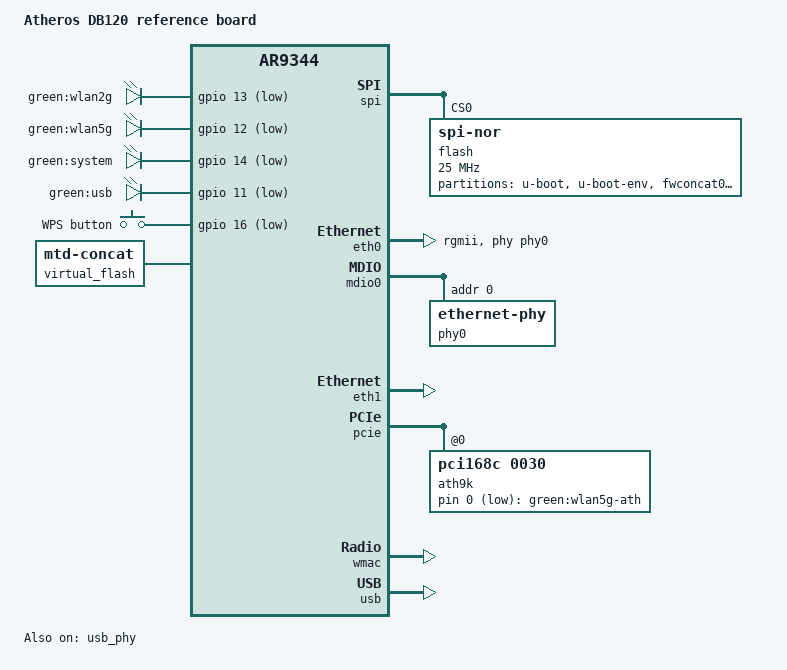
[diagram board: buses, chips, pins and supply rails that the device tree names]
// SPDX-License-Identifier: GPL-2.0-or-later OR MIT

#include "ar9344.dtsi"

#include <dt-bindings/gpio/gpio.h>
#include <dt-bindings/input/input.h>
#include <dt-bindings/mtd/partitions/uimage.h>

/ {
	model = "Atheros DB120 reference board";
	compatible = "atheros,db120", "qca,ar9344";

	aliases {
		led-boot = &led_system;
		led-failsafe = &led_system;
		led-running = &led_system;
		led-upgrade = &led_system;
	};

	leds {
		compatible = "gpio-leds";

		wlan2g {
			label = "green:wlan2g";
			gpios = <&gpio 13 GPIO_ACTIVE_LOW>;
			linux,default-trigger = "phy0tpt";
		};

		wlan5g {
			label = "green:wlan5g";
			gpios = <&gpio 12 GPIO_ACTIVE_LOW>;
			linux,default-trigger = "phy1tpt";
		};

		led_system: system {
			label = "green:system";
			gpios = <&gpio 14 GPIO_ACTIVE_LOW>;
			default-state = "on";
		};

		usb {
			label = "green:usb";
			gpios = <&gpio 11 GPIO_ACTIVE_LOW>;
			trigger-sources = <&hub_port1>;
			linux,default-trigger = "usbport";
		};
	};

	leds-ath9k {
		compatible = "gpio-leds";

		wlan5g-ath {
			label = "green:wlan5g-ath";
			gpios = <&ath9k 0 GPIO_ACTIVE_LOW>;
			linux,default-trigger = "phy1tpt";
		};
	};

	keys {
		compatible = "gpio-keys";

		wps {
			linux,code = <KEY_WPS_BUTTON>;
			label = "WPS button";
			gpios = <&gpio 16 GPIO_ACTIVE_LOW>;
			debounce-interval = <60>;
		};
	};

	virtual_flash {
		compatible = "mtd-concat";
		devices = <&fwconcat0 &fwconcat1>;

		partitions {
			compatible = "fixed-partitions";
			#address-cells = <1>;
			#size-cells = <1>;

			partition@0 {
				reg = <0x0 0x0>;
				label = "firmware";
				compatible = "openwrt,uimage", "denx,uimage";
				openwrt,ih-magic = <IH_MAGIC_OKLI>;
			};
		};
	};
};

&ref {
	clock-frequency = <40000000>;
};

&spi {
	status = "okay";

	flash@0 {
		compatible = "jedec,spi-nor";
		reg = <0>;
		spi-max-frequency = <25000000>;

		partitions {
			compatible = "fixed-partitions";
			#address-cells = <1>;
			#size-cells = <1>;

			uboot: partition@0 {
				label = "u-boot";
				reg = <0x000000 0x040000>;
				read-only;
			};

			partition@40000 {
				label = "u-boot-env";
				reg = <0x040000 0x010000>;
				read-only;
			};

			fwconcat0: partition@50000 {
				label = "fwconcat0";
				reg = <0x050000 0x630000>;
			};

			partition@680000 {
				label = "loader";
				reg = <0x680000 0x010000>;
			};

			fwconcat1: partition@690000 {
				label = "fwconcat1";
				reg = <0x690000 0x150000>;
			};

			partition@7e0000 {
				label = "nvram";
				reg = <0x7e0000 0x010000>;
			};

			art: partition@7f0000 {
				label = "art";
				reg = <0x7f0000 0x010000>;
				read-only;
			};
		};
	};
};

&eth0 {
	status = "okay";

	pll-data = <0x06000000 0x00000101 0x00001616>;

	nvmem-cells = <&macaddr_art_0>;
	nvmem-cell-names = "mac-address";

	phy-mode = "rgmii";
	phy-handle = <&phy0>;
};

&mdio0 {
	status = "okay";

	phy-mask = <0>;

	phy0: ethernet-phy@0 {
		reg = <0>;

		qca,ar8327-initvals = <
			0x04 0x07600000 /* PORT0 PAD MODE CTRL */
			0x10 0xc1000000 /* POWER_ON_STRAP */
			0x7c 0x0000007e /* PORT0_STATUS */
			0x94 0x0000007e /* PORT6_STATUS */
			>;
	};
};

&pinmux {
	pmx_led_wan_lan: pinmux_led_wan_lan {
		pinctrl-single,bits = <0x10 0x2c2d0000 0xffff0000>,
			 <0x14 0x292a2b 0xffffff>;
	};
};

&builtin_switch {
	pinctrl-names = "default";
	pinctrl-0 = <&pmx_led_wan_lan>;

	/delete-property/qca,phy4-mii-enable;
};

&eth1 {
	status = "okay";

	nvmem-cells = <&macaddr_art_6>;
	nvmem-cell-names = "mac-address";

	gmac-config {
		device = <&gmac>;
		switch-phy-swap = <0>;
		switch-only-mode = <1>;
	};
};

&pcie {
	status = "okay";

	ath9k: wifi@0,0 {
		compatible = "pci168c,0030";
		reg = <0x0000 0 0 0 0>;
		qca,no-eeprom;
		ieee80211-freq-limit = <4900000 5990000>;
		#gpio-cells = <2>;
		gpio-controller;
	};
};

&wmac {
	status = "okay";

	mtd-cal-data = <&art 0x1000>;
};

&usb {
	status = "okay";

	#address-cells = <1>;
	#size-cells = <0>;

	hub_port1: port@1 {
		reg = <1>;
		#trigger-source-cells = <0>;
	};
};

&usb_phy {
	status = "okay";
};

&art {
	compatible = "nvmem-cells";
	#address-cells = <1>;
	#size-cells = <1>;

	macaddr_art_0: macaddr@0 {
		reg = <0x0 0x6>;
	};

	macaddr_art_6: macaddr@6 {
		reg = <0x6 0x6>;
	};
};
